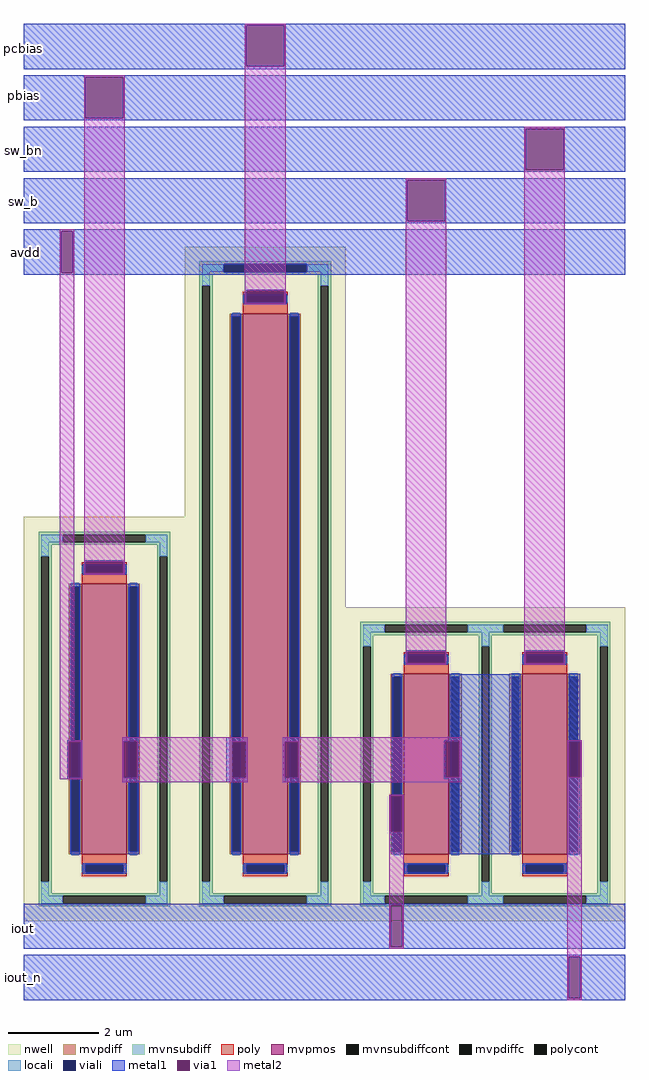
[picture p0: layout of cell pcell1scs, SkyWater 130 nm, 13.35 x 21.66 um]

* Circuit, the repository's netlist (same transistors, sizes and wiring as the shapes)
** sch_path: /home/yohanes/gits/dsrt_2024/sky130_its_ip__idac3v_12bit/xschem/pcell1scs.sch
.subckt pcell1scs avdd pbias pcbias sw_b sw_bn iout_n iout
*.PININFO pbias:I pcbias:I sw_b:I avdd:I iout:O iout_n:O sw_bn:I
XM1 net1 pbias avdd avdd sky130_fd_pr__pfet_g5v0d10v5 L=1 W=6 nf=1 m=1
XM2 net2 pcbias net1 avdd sky130_fd_pr__pfet_g5v0d10v5 L=1 W=12 nf=1 m=1
XM3 iout sw_b net2 avdd sky130_fd_pr__pfet_g5v0d10v5 L=1 W=4 nf=1 m=1
XM4 iout_n sw_bn net2 avdd sky130_fd_pr__pfet_g5v0d10v5 L=1 W=4 nf=1 m=1
.ends
.end

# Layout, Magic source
magic
tech sky130A
magscale 1 2
<< nwell >>
rect 1148 -522 1212 -322
rect 1860 -522 1868 -322
rect 2576 -506 2642 -334
<< viali >>
rect 1598 1742 1966 1778
<< metal1 >>
rect 710 2838 3380 2844
rect 710 2656 1698 2838
rect 1866 2656 3380 2838
rect 710 2644 3380 2656
rect 710 2608 3380 2616
rect 710 2426 984 2608
rect 1152 2426 3380 2608
rect 710 2416 3380 2426
rect 710 2378 3380 2388
rect 710 2196 2938 2378
rect 3106 2196 3380 2378
rect 710 2188 3380 2196
rect 710 2150 3380 2160
rect 710 1968 2412 2150
rect 2580 1968 3380 2150
rect 710 1960 3380 1968
rect 710 1924 3380 1932
rect 710 1740 876 1924
rect 928 1778 3380 1924
rect 928 1742 1598 1778
rect 1966 1742 3380 1778
rect 928 1740 3380 1742
rect 710 1732 3380 1740
rect 1692 1658 1872 1664
rect 1692 1606 1698 1658
rect 1866 1606 1872 1658
rect 1692 1600 1872 1606
rect 978 458 1158 464
rect 978 406 984 458
rect 1152 406 1158 458
rect 978 400 1158 406
rect 2406 58 2586 64
rect 2406 6 2412 58
rect 2580 6 2586 58
rect 2406 0 2586 6
rect 2932 58 3112 64
rect 2932 6 2938 58
rect 3106 6 3112 58
rect 2932 0 3112 6
rect 904 -342 970 -336
rect 904 -502 910 -342
rect 964 -502 970 -342
rect 904 -508 970 -502
rect 1148 -340 1212 -322
rect 1148 -502 1154 -340
rect 1610 -342 1704 -322
rect 1610 -502 1636 -342
rect 1696 -502 1704 -342
rect 1148 -522 1212 -502
rect 1610 -522 1704 -502
rect 1868 -342 1934 -322
rect 2602 -334 2916 -42
rect 1928 -502 1934 -342
rect 1868 -522 1934 -502
rect 2576 -340 2916 -334
rect 2576 -500 2582 -340
rect 2642 -500 2916 -340
rect 2576 -506 2916 -500
rect 2332 -582 2396 -576
rect 2332 -742 2338 -582
rect 2390 -742 2396 -582
rect 2332 -748 2396 -742
rect 2602 -840 2916 -506
rect 3128 -340 3180 -40
rect 3128 -842 3180 -500
rect 710 -1068 3380 -1060
rect 710 -1252 2338 -1068
rect 2390 -1252 3380 -1068
rect 710 -1260 3380 -1252
rect 710 -1296 3380 -1288
rect 710 -1480 3128 -1296
rect 3180 -1480 3380 -1296
rect 710 -1488 3380 -1480
<< via1 >>
rect 1698 2656 1866 2838
rect 984 2426 1152 2608
rect 2938 2196 3106 2378
rect 2412 1968 2580 2150
rect 876 1740 928 1924
rect 1698 1606 1866 1658
rect 984 406 1152 458
rect 2412 6 2580 58
rect 2938 6 3106 58
rect 910 -502 964 -342
rect 1154 -502 1214 -340
rect 1636 -502 1696 -342
rect 1868 -502 1928 -342
rect 2582 -500 2642 -340
rect 2338 -742 2390 -582
rect 3128 -500 3180 -340
rect 2338 -1252 2390 -1068
rect 3128 -1480 3180 -1296
<< metal2 >>
rect 1692 2838 1872 2844
rect 1692 2656 1698 2838
rect 1866 2656 1872 2838
rect 978 2608 1158 2616
rect 978 2426 984 2608
rect 1152 2426 1158 2608
rect 870 1924 934 1932
rect 870 1740 876 1924
rect 928 1740 934 1924
rect 870 -336 934 1740
rect 978 458 1158 2426
rect 1692 1658 1872 2656
rect 2932 2378 3112 2388
rect 2932 2196 2938 2378
rect 3106 2196 3112 2378
rect 1692 1606 1698 1658
rect 1866 1606 1872 1658
rect 1692 1600 1872 1606
rect 2406 2150 2586 2160
rect 2406 1968 2412 2150
rect 2580 1968 2586 2150
rect 978 406 984 458
rect 1152 406 1158 458
rect 978 400 1158 406
rect 2406 58 2586 1968
rect 2406 6 2412 58
rect 2580 6 2586 58
rect 2406 0 2586 6
rect 2932 58 3112 2196
rect 2932 6 2938 58
rect 3106 6 3112 58
rect 2932 0 3112 6
rect 870 -342 970 -336
rect 870 -502 910 -342
rect 964 -502 970 -342
rect 870 -508 970 -502
rect 1148 -340 1704 -322
rect 1148 -502 1154 -340
rect 1214 -342 1704 -340
rect 1214 -502 1636 -342
rect 1696 -502 1704 -342
rect 1148 -522 1704 -502
rect 1860 -340 2654 -322
rect 1860 -342 2582 -340
rect 1860 -502 1868 -342
rect 1928 -500 2582 -342
rect 2642 -500 2654 -340
rect 1928 -502 2654 -500
rect 1860 -522 2654 -502
rect 3122 -340 3186 -334
rect 3122 -500 3128 -340
rect 3180 -500 3186 -340
rect 2332 -582 2396 -576
rect 2332 -742 2338 -582
rect 2390 -742 2396 -582
rect 2332 -1068 2396 -742
rect 2332 -1252 2338 -1068
rect 2390 -1252 2396 -1068
rect 2332 -1260 2396 -1252
rect 3122 -1296 3186 -500
rect 3122 -1480 3128 -1296
rect 3180 -1480 3186 -1296
rect 3122 -1488 3186 -1480
use sky130_fd_pr__pfet_g5v0d10v5_243UAW  sky130_fd_pr__pfet_g5v0d10v5_243UAW_0
transform 1 0 1782 0 1 359
box -358 -1497 358 1497
use sky130_fd_pr__pfet_g5v0d10v5_FGF6VM  sky130_fd_pr__pfet_g5v0d10v5_FGF6VM_0
transform 1 0 1068 0 1 -241
box -358 -897 358 897
use sky130_fd_pr__pfet_g5v0d10v5_FGR8VM  sky130_fd_pr__pfet_g5v0d10v5_FGR8VM_0
transform 1 0 3022 0 1 -441
box -358 -697 358 697
use sky130_fd_pr__pfet_g5v0d10v5_FGR8VM  sky130_fd_pr__pfet_g5v0d10v5_FGR8VM_1
transform 1 0 2496 0 1 -441
box -358 -697 358 697
<< labels >>
flabel metal1 s 710 1830 724 1834 3 FreeSans 800 0 0 0 avdd
port 0 e
flabel metal1 s 710 2528 710 2528 3 FreeSans 800 0 0 0 pbias
port 1 e
flabel metal1 s 710 2736 710 2736 3 FreeSans 800 0 0 0 pcbias
port 2 e
flabel metal1 s 710 2058 710 2058 3 FreeSans 800 0 0 0 sw_b
port 3 e
flabel metal1 s 710 2282 710 2282 3 FreeSans 800 0 0 0 sw_bn
port 4 e
flabel metal1 s 710 -1172 710 -1172 3 FreeSans 800 0 0 0 iout
port 6 e
flabel metal1 s 710 -1386 710 -1386 3 FreeSans 800 0 0 0 iout_n
port 5 e
<< end >>

# cell sky130_fd_pr__pfet_g5v0d10v5_243UAW: kit device sky130_fd_pr__pfet_g5v0d10v5, w 12.0 l 1.0 m 1 nf 1 diffcov 100 polycov 100 guard 1 glc 1 grc 1 gtc 1 gbc 1 tbcov 100 rlcov 100 topc 1 botc 1 poverlap 0 doverlap 1 lmin 0.50 wmin 0.42 compatible {sky130_fd_pr__pfet_01v8 sky130_fd_pr__pfet_01v8_lvt sky130_fd_pr__pfet_01v8_hvt sky130_fd_pr__pfet_g5v0d10v5} full_metal 1 viasrc 100 viadrn 100 viagate 100 viagb 0 viagr 0 viagl 0 viagt 0

# cell sky130_fd_pr__pfet_g5v0d10v5_FGF6VM: kit device sky130_fd_pr__pfet_g5v0d10v5, w 6.0 l 1.0 m 1 nf 1 diffcov 100 polycov 100 guard 1 glc 1 grc 1 gtc 1 gbc 1 tbcov 100 rlcov 100 topc 1 botc 1 poverlap 0 doverlap 1 lmin 0.50 wmin 0.42 compatible {sky130_fd_pr__pfet_01v8 sky130_fd_pr__pfet_01v8_lvt sky130_fd_pr__pfet_01v8_hvt sky130_fd_pr__pfet_g5v0d10v5} full_metal 1 viasrc 100 viadrn 100 viagate 100 viagb 0 viagr 0 viagl 0 viagt 0

# cell sky130_fd_pr__pfet_g5v0d10v5_FGR8VM: kit device sky130_fd_pr__pfet_g5v0d10v5, w 4.0 l 1.0 m 1 nf 1 diffcov 100 polycov 100 guard 1 glc 1 grc 1 gtc 1 gbc 1 tbcov 100 rlcov 100 topc 1 botc 1 poverlap 0 doverlap 1 lmin 0.50 wmin 0.42 compatible {sky130_fd_pr__pfet_01v8 sky130_fd_pr__pfet_01v8_lvt sky130_fd_pr__pfet_01v8_hvt sky130_fd_pr__pfet_g5v0d10v5} full_metal 1 viasrc 100 viadrn 100 viagate 100 viagb 0 viagr 0 viagl 0 viagt 0
